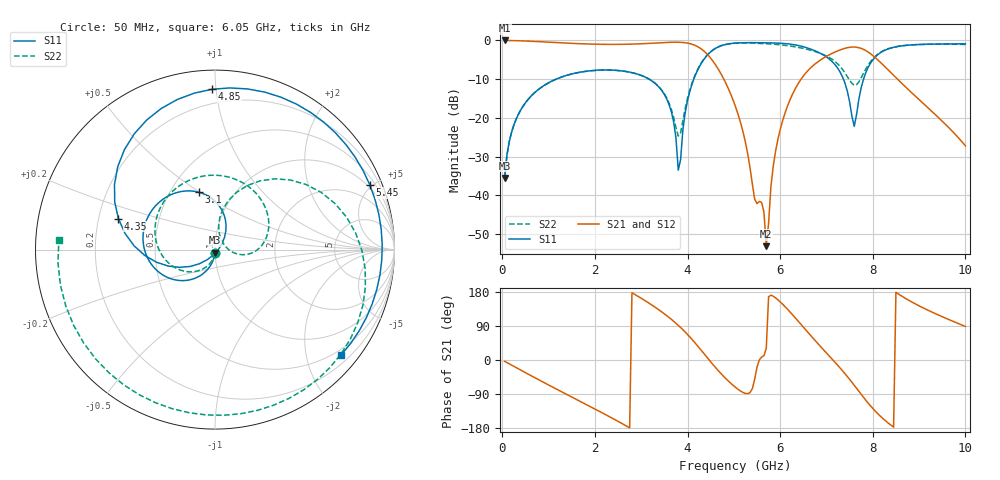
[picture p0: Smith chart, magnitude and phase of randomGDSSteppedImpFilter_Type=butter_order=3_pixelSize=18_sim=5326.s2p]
! freq	dB(S11)	phase(S11)	dB(S12)	phase(S12)
!  dB(S21)	phase(S21)	dB(S22)	phase(S22)
!S-par simulation data
#  GHz  S  DB  R 50
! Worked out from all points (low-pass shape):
!   200 points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, 50 MHz to 10 GHz, reference 50 ohm
!   highest |S21| = -0.01 dB at 50 MHz (marker M1); lowest = -53.1 dB at 5.7 GHz (marker M2)
!   |S21| within 3 dB of the highest: start of sweep to 4.377 GHz; 7.182 GHz to 7.901 GHz (719.1 MHz wide, 9.53 % of centre)
!   lowest |S11| = -35.5 dB at 50 MHz (marker M3), VSWR 1.03, Z = 50 - j1.68 ohm
!   |S11| at or under -10 dB: start of sweep to 1.16 GHz; 3.17 GHz to 4.135 GHz (965.8 MHz wide, 26.4 % of centre); 7.366 GHz to 7.8 GHz (433.8 MHz wide, 5.72 % of centre)
!   |S22| runs from -35.5 to -0.7 dB; largest |S21 - S12| = 0
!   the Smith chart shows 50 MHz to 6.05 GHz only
!   S11 on the Smith chart (normalised r, x): 50 MHz: 1.00, -0.03; 3.1 GHz: 0.69, +0.49; 4.35 GHz: 0.28, +0.14; 4.85 GHz: 0.11, +0.98; 5.45 GHz: 0.85, +4.85; 6.05 GHz: 0.38, -2.71
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0.05  -35.50 -90.3  -0.01 -3.4  -0.01 -3.4  -35.52 -91.6
0.5  -16.08 -117.7  -0.15 -33.4  -0.15 -33.4  -16.10 -130.0
1.75  -8.06 178.6  -0.89 -113.5  -0.89 -113.5  -8.08 133.4
3.1  -9.55 106.0  -0.81 155.3  -0.81 155.3  -9.53 26.1
3.4  -12.28 84.1  -0.62 130.7  -0.62 130.7  -12.19 1.7
3.7  -21.01 52.8  -0.46 102.2  -0.46 102.2  -19.86 -8.9
3.8  -33.48 8.7  -0.46 91.4  -0.46 91.4  -24.68 23.8
4  -15.51 -145.9  -0.69 67.4  -0.69 67.4  -14.88 81.4
4.35  -4.95 162.2  -2.71 17.6  -2.71 17.6  -4.87 42.8
4.85  -0.98 91.0  -11.62 -51.9  -11.62 -51.9  -0.98 -27.1
5.05  -0.68 66.6  -17.57 -73.6  -17.57 -73.6  -0.71 -51.7
5.45  -0.58 22.6  -40.97 -50.7  -40.97 -50.7  -0.72 -98.9
5.7  -0.62 -3.4  -53.08 30.5  -53.08 30.5  -0.86 -130.7
6.05  -0.77 -39.8  -20.85 147.6  -20.85 147.6  -1.19 176.6
6.4  -1.34 -76.8  -10.95 101.0  -10.95 101.0  -1.82 112.5
6.7  -2.42 -108.0  -6.62 58.9  -6.62 58.9  -2.68 56.1
7.2  -6.48 -164.0  -2.92 -8.0  -2.92 -8.0  -5.60 -18.4
7.6  -22.17 59.3  -1.71 -66.7  -1.71 -66.7  -11.56 -24.7
7.9  -6.96 -65.0  -3.00 -113.6  -3.00 -113.6  -6.34 -8.8
8.35  -2.11 -124.6  -7.83 -167.9  -7.83 -167.9  -2.08 -46.2
9.05  -1.03 178.6  -15.83 139.8  -15.83 139.8  -1.04 -91.9
10  -0.87 117.9  -27.19 88.5  -27.19 88.5  -1.04 -138.8
